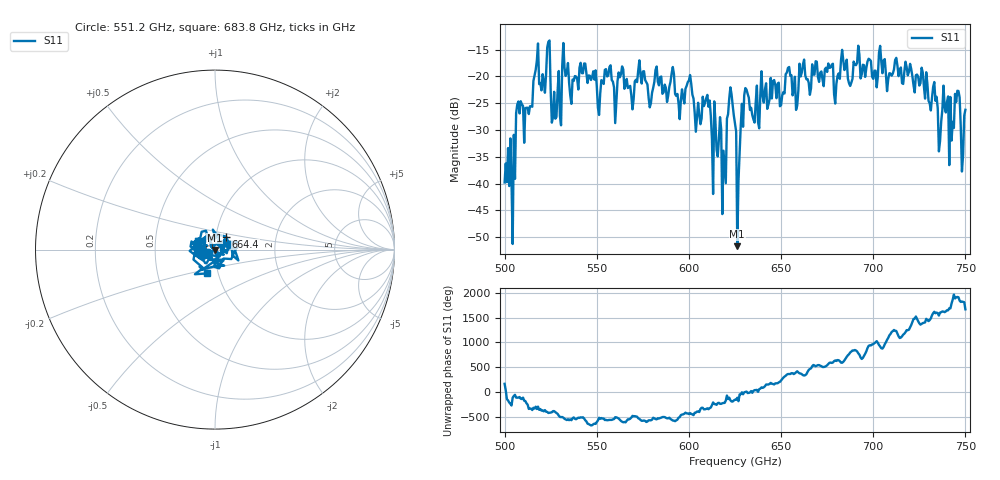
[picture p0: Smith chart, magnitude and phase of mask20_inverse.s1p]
!Created with skrf (http://scikit-rf.org).
# GHz S MA R 50.0
!freq magS11 angS11
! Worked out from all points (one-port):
!   401 points, 500 GHz to 750 GHz, reference 50 ohm
!   lowest |S11| = -51.7 dB at 626.2 GHz (marker M1), VSWR 1.01, Z = 49.9 - j0.241 ohm
!   |S11| at or under -10 dB: start of sweep to end of sweep
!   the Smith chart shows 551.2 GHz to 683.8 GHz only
!   S11 on the Smith chart (normalised r, x): 551.2 GHz: 0.92, -0.03; 664.4 GHz: 1.12, +0.16; 683.8 GHz: 0.88, -0.24
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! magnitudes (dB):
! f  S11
! 500 GHz  -39.8
! 504.4 GHz  -51.3
! 507.5 GHz  -24.7
! 513.8 GHz  -25.6
! 516.9 GHz  -18.8
! 523.8 GHz  -13.5
! 526.9 GHz  -22.9
! 531.2 GHz  -18.1
! 551.2 GHz  -27.2
! 562.5 GHz  -20.2
! 593.8 GHz  -23.3
! 610 GHz  -23.5
! 618.8 GHz  -33.9
! 623.1 GHz  -23.3
! 625 GHz  -28.9
! 626.2 GHz  -51.7
! 631.2 GHz  -22.5
! 656.2 GHz  -23.5
! 664.4 GHz  -20.5
! 683.8 GHz  -17.0
! 687.5 GHz  -21.8
! 718.8 GHz  -19.8
! 736.2 GHz  -32.1
! 739.4 GHz  -26.7
! 742.5 GHz  -32.0
! 745.6 GHz  -22.7
! 748.1 GHz  -37.8
! 750 GHz  -26.2
